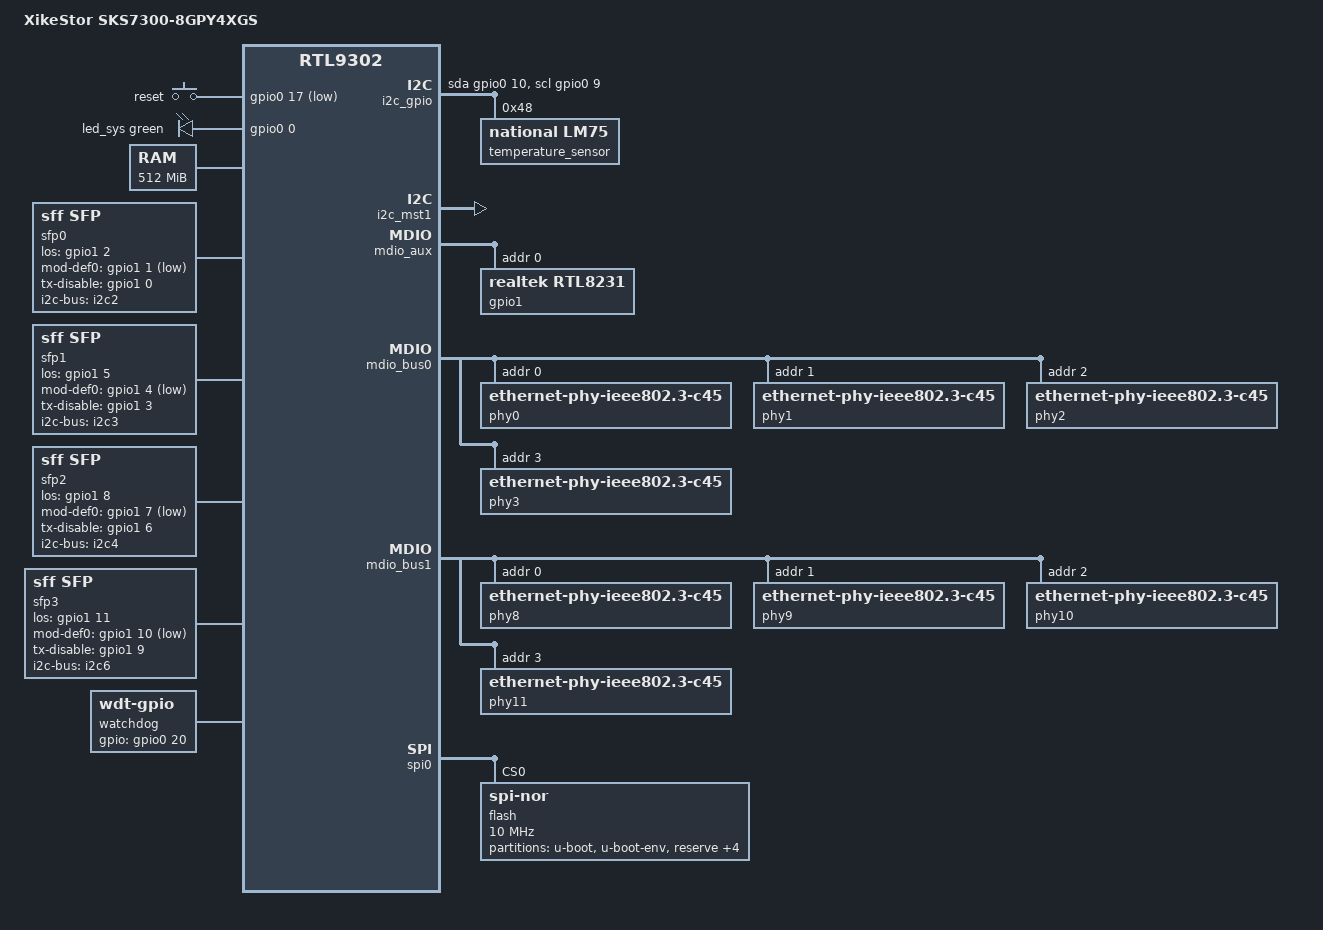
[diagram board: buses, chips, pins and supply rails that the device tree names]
// SPDX-License-Identifier: GPL-2.0-or-later
/dts-v1/;

#include "rtl930x.dtsi"

#include <dt-bindings/gpio/gpio.h>
#include <dt-bindings/input/input.h>
#include <dt-bindings/leds/common.h>

/ {
	compatible = "xikestor,sks7300-8gpy4xgs", "realtek,rtl9302-soc";
	model = "XikeStor SKS7300-8GPY4XGS";

//PSX10	chosen {
//		/* get active mtdparts from u-boot */
//		/delete-property/ bootargs;
//	};

	aliases {
		led-boot = &led_sys;
		led-failsafe = &led_sys;
		led-running = &led_sys;
		led-upgrade = &led_sys;
		label-mac-device = &ethernet0;
	};

	chosen {
		stdout-path = "serial0:115200n8";
		/* Silencing the kernel is required since otherwise the watchdog
		   would time out! */
		bootargs = "quiet";
	};

	i2c_gpio: i2c-gpio {
		compatible = "i2c-gpio";
		#address-cells = <1>;
		#size-cells = <0>;
		i2c-gpio,delay-us = <2>;
//PSX10		i2c-gpio,delay-us = <5>;	/* ~100 kHz */
//PSX10		scl-gpios = <&gpio0 8 GPIO_ACTIVE_HIGH>;
		scl-gpios = <&gpio0 9 (GPIO_ACTIVE_HIGH | GPIO_OPEN_DRAIN)>;
//PSX10		sda-gpios = <&gpio0 9 GPIO_ACTIVE_HIGH>;
		sda-gpios = <&gpio0 10 (GPIO_ACTIVE_HIGH | GPIO_OPEN_DRAIN)>;

		temperature_sensor: temperature-sensor@48 {
			compatible = "national,lm75";
			reg = <0x48>;
			#thermal-sensor-cells = <0>;
		};
	};

//PSX10	i2c1: i2c-gpio1 {
//		compatible = "i2c-gpio";
//		#address-cells = <1>;
//		#size-cells = <0>;
//
//		sda-gpios = <&gpio0 14 GPIO_ACTIVE_HIGH>;
//		scl-gpios = <&gpio0 17 GPIO_ACTIVE_HIGH>;
//
//		i2c-gpio,delay-us = <5>;	/* ~100 kHz */
//	};

	keys {
		compatible = "gpio-keys";

		button-reset {
			label = "reset";
//PSX10			gpios = <&gpio0 1 GPIO_ACTIVE_LOW>;
//SKS8300-12E2T2X	gpios = <&gpio0 6 GPIO_ACTIVE_LOW>;
			gpios = <&gpio0 17 GPIO_ACTIVE_LOW>;
			linux,code = <KEY_RESTART>;
		};
	};

	leds {
		compatible = "gpio-leds";

		pinctrl-names = "default";
		pinctrl-0 = <&pinmux_disable_sys_led>, <&pinmux_enable_led_sync>;

//LEDs: SYS, PWR
		led_sys: led-0 {
			color = <LED_COLOR_ID_GREEN>;
//PSX10			function = LED_FUNCTION_POWER;
			function = LED_FUNCTION_STATUS;
//label deprecated
			gpios = <&gpio0 0 GPIO_ACTIVE_HIGH>;
//PSX10			gpios = <&gpio0 0 GPIO_ACTIVE_LOW>;
//			default-state = "on";
			linux,default-trigger = "heartbeat";
		};

//PSX10		led-1 {
//			color = <LED_COLOR_ID_RED>;
//			function = LED_FUNCTION_STATUS;
//			gpios = <&gpio0 13 GPIO_ACTIVE_LOW>;
//			default-state = "on";
//			linux,default-trigger = "heartbeat";
//		};
	};

	led_set {
		compatible = "realtek,rtl9300-leds";
		active-low;

		/*
		 * 2,5G Ports LED0 (orange): 10M/100M/1G/LINK/ACT
		 * 2,5G Ports LED1 (green): 2.5G/LINK/ACT
		 */
		led_set0 = <(RTL93XX_LED_SET_10M | RTL93XX_LED_SET_100M | RTL93XX_LED_SET_1G |
			     RTL93XX_LED_SET_LINK | RTL93XX_LED_SET_ACT)
			    (RTL93XX_LED_SET_2P5G | RTL93XX_LED_SET_LINK | RTL93XX_LED_SET_ACT)>;

		/*
		 * 10G Ports LED0 (orange): 10M/100M/1G/2.5G/5G/LINK/ACT
		 * 10G Ports LED1 (green): 10G/LINK/ACT
		 */
		led_set1 = <(RTL93XX_LED_SET_10M | RTL93XX_LED_SET_100M | RTL93XX_LED_SET_1G |
			     RTL93XX_LED_SET_2P5G | RTL93XX_LED_SET_5G |
			     RTL93XX_LED_SET_LINK | RTL93XX_LED_SET_ACT)
			    (RTL93XX_LED_SET_10G | RTL93XX_LED_SET_LINK | RTL93XX_LED_SET_ACT)>;
	};

	memory@0 {
		device_type = "memory";
		reg = <0x00000000 0x10000000>, /* first 256 MiB */
		      <0x20000000 0x10000000>; /* remaining 256 MiB */
	};

//PSX10	sfp0: sfp-lan9 {
//		compatible = "sff,sfp";
//		i2c-bus = <&i2c0>;
//		los-gpio = <&gpio0 11 GPIO_ACTIVE_HIGH>;
//		mod-def0-gpio = <&gpio0 12 GPIO_ACTIVE_LOW>;
//		tx-disable-gpio = <&gpio0 22 GPIO_ACTIVE_HIGH>;
//	};
	sfp0: sfp-p1 {
		compatible = "sff,sfp";
		i2c-bus = <&i2c2>;
		los-gpio = <&gpio1 2 GPIO_ACTIVE_HIGH>;
		mod-def0-gpio = <&gpio1 1 GPIO_ACTIVE_LOW>;
		tx-disable-gpio = <&gpio1 0 GPIO_ACTIVE_HIGH>;
		maximum-power-milliwatt = <1500>;
		#thermal-sensor-cells = <0>;
	};

//PSX10	sfp1: sfp-lan10 {
//		compatible = "sff,sfp";
//		i2c-bus = <&i2c1>;
//		los-gpio = <&gpio0 16 GPIO_ACTIVE_HIGH>;
//		mod-def0-gpio = <&gpio0 20 GPIO_ACTIVE_LOW>;
//		tx-disable-gpio = <&gpio0 21 GPIO_ACTIVE_HIGH>;
//	};
	sfp1: sfp-p2 {
		compatible = "sff,sfp";
		i2c-bus = <&i2c3>;
		los-gpio = <&gpio1 5 GPIO_ACTIVE_HIGH>;
		mod-def0-gpio = <&gpio1 4 GPIO_ACTIVE_LOW>;
		tx-disable-gpio = <&gpio1 3 GPIO_ACTIVE_HIGH>;
		maximum-power-milliwatt = <1500>;
		#thermal-sensor-cells = <0>;
	};

	sfp2: sfp-p3 {
		compatible = "sff,sfp";
		i2c-bus = <&i2c4>;
		los-gpio = <&gpio1 8 GPIO_ACTIVE_HIGH>;
		mod-def0-gpio = <&gpio1 7 GPIO_ACTIVE_LOW>;
		tx-disable-gpio = <&gpio1 6 GPIO_ACTIVE_HIGH>;
		maximum-power-milliwatt = <1500>;
		#thermal-sensor-cells = <0>;
	};

	sfp3: sfp-p4 {
		compatible = "sff,sfp";
		i2c-bus = <&i2c6>;
		los-gpio = <&gpio1 11 GPIO_ACTIVE_HIGH>;
		mod-def0-gpio = <&gpio1 10 GPIO_ACTIVE_LOW>;
		tx-disable-gpio = <&gpio1 9 GPIO_ACTIVE_HIGH>;
		maximum-power-milliwatt = <1500>;
		#thermal-sensor-cells = <0>;
	};

	watchdog {
		compatible = "linux,wdt-gpio";
		gpios = <&gpio0 20 GPIO_ACTIVE_HIGH>;
		hw_algo = "toggle";
		hw_margin_ms = <1200>;
		always-running;
	};
};

&ethernet0 {
	nvmem-cells = <&macaddr_ubootenv_ethaddr 0>;
	nvmem-cell-names = "mac-address";
};

&i2c_mst1 {
	status = "okay";
	i2c_sfp0: i2c@0 {
		reg = <0>;
	};
	i2c_sfp1: i2c@1 {
		reg = <1>;
	};
	i2c2: i2c@2 {
		reg = <2>;
	};
	i2c3: i2c@3 {
		reg = <3>;
	};
	i2c4: i2c@4 {
		reg = <4>;
	};
	i2c6: i2c@6 {
		reg = <6>;
	};
};

&mdio_aux {
	status = "okay";

	gpio1: gpio@0 {
		compatible = "realtek,rtl8231";
		reg = <0>;

		gpio-controller;
		#gpio-cells = <2>;
		gpio-ranges = <&gpio1 0 0 37>;

		led-controller {
			compatible = "realtek,rtl8231-leds";
			status = "disabled";
		};
	};
};

&mdio_bus0 {
	/* External RTL8224 PHY */
	phy0: ethernet-phy@0 {
		compatible = "ethernet-phy-ieee802.3-c45";
		reg = <0>;
	};
	phy1: ethernet-phy@1 {
		compatible = "ethernet-phy-ieee802.3-c45";
		reg = <1>;
	};
	phy2: ethernet-phy@2 {
		compatible = "ethernet-phy-ieee802.3-c45";
		reg = <2>;
	};
	phy3: ethernet-phy@3 {
		compatible = "ethernet-phy-ieee802.3-c45";
		reg = <3>;
	};
};

&mdio_bus1 {
	/* External RTL8224 PHY */
	phy8: ethernet-phy@0 {
		compatible = "ethernet-phy-ieee802.3-c45";
		reg = <0>;
	};
	phy9: ethernet-phy@1 {
		compatible = "ethernet-phy-ieee802.3-c45";
		reg = <1>;
	};
	phy10: ethernet-phy@2 {
		compatible = "ethernet-phy-ieee802.3-c45";
		reg = <2>;
	};
	phy11: ethernet-phy@3 {
		compatible = "ethernet-phy-ieee802.3-c45";
		reg = <3>;
	};
};

//mdio_bus2

//mdio_bus3

//PSX10
//&port0 {
//	nvmem-cells = <&macaddr_ubootenv_ethaddr 1>;
//	nvmem-cell-names = "mac-address";
//};

//&port1 {
//	nvmem-cells = <&macaddr_ubootenv_ethaddr 2>;
//	nvmem-cell-names = "mac-address";
//};

//&port2 {
//	nvmem-cells = <&macaddr_ubootenv_ethaddr 3>;
//	nvmem-cell-names = "mac-address";
//};

//&port3 {
//	nvmem-cells = <&macaddr_ubootenv_ethaddr 4>;
//	nvmem-cell-names = "mac-address";
//};

//&port8 {
//	nvmem-cells = <&macaddr_ubootenv_ethaddr 5>;
//	nvmem-cell-names = "mac-address";
//};

//&port9 {
//	nvmem-cells = <&macaddr_ubootenv_ethaddr 6>;
//	nvmem-cell-names = "mac-address";
//};

//&port10 {
//	nvmem-cells = <&macaddr_ubootenv_ethaddr 7>;
//	nvmem-cell-names = "mac-address";
//};

//&port11 {
//	nvmem-cells = <&macaddr_ubootenv_ethaddr 8>;
//	nvmem-cell-names = "mac-address";
//};

&spi0 {
	status = "okay";

	flash@0 {
		compatible = "jedec,spi-nor";
		reg = <0>;
		spi-max-frequency = <10000000>;

		partitions {
			compatible = "fixed-partitions";
			#address-cells = <1>;
			#size-cells = <1>;

			partition@0 {
				label = "u-boot";
				reg = <0x0 0x0a0000>;
				read-only;
			};

			partition@a0000 {
				label = "u-boot-env";
				reg = <0x0a0000 0x10000>;

				nvmem-layout {
					compatible = "u-boot,env";

					macaddr_ubootenv_ethaddr: ethaddr {
						#nvmem-cell-cells = <1>;
					};
				};
			};
//SYSINFO
			partition@b0000 {
				label = "reserve";
				reg = <0xb0000 0x80000>;
				read-only;
			};
//JFFS2_CFG
			partition@130000 {
				label = "config";
				reg = <0x130000 0x350000>;
				read-only;
			};

			partition@480000 {
				label = "firmware";
				reg = <0x480000 0x01b80000>;

				compatible = "fixed-partitions";
				#address-cells = <1>;
				#size-cells = <1>;

				partition@0 {
					label = "kernel";
					reg = <0x0 0x800000>;
				};

				partition@800000 {
					label = "rootfs";
					reg = <0x800000 0x1380000>;
				};
			};
		};
	};
};

&switch0 {
	ethernet-ports {
		#address-cells = <1>;
		#size-cells = <0>;

		port@0 {
			reg = <0>;
			label = "lan2";
			led-set = <0>;
			pcs-handle = <&serdes2>;
			phy-handle = <&phy0>;
			phy-mode = "10g-qxgmii";
		};
		port@1 {
			reg = <1>;
			label = "lan1";
			led-set = <0>;
			pcs-handle = <&serdes2>;
			phy-handle = <&phy1>;
			phy-mode = "10g-qxgmii";
		};
		port@2 {
			reg = <2>;
			label = "lan4";
			led-set = <0>;
			pcs-handle = <&serdes2>;
			phy-handle = <&phy2>;
			phy-mode = "10g-qxgmii";
		};
		port@3 {
			reg = <3>;
			label = "lan3";
			led-set = <0>;
			pcs-handle = <&serdes2>;
			phy-handle = <&phy3>;
			phy-mode = "10g-qxgmii";
		};

		port@8 {
			reg = <8>;
			label = "lan6";
			led-set = <0>;
			pcs-handle = <&serdes3>;
			phy-handle = <&phy8>;
			phy-mode = "10g-qxgmii";
		};
		port@9 {
			reg = <9>;
			label = "lan5";
			led-set = <0>;
			pcs-handle = <&serdes3>;
			phy-handle = <&phy9>;
			phy-mode = "10g-qxgmii";
		};
		port@10 {
			reg = <10>;
			label = "lan8";
			led-set = <0>;
			pcs-handle = <&serdes3>;
			phy-handle = <&phy10>;
			phy-mode = "10g-qxgmii";
		};
		port@11 {
			reg = <11>;
			label = "lan7";
			led-set = <0>;
			pcs-handle = <&serdes3>;
			phy-handle = <&phy11>;
			phy-mode = "10g-qxgmii";
		};

		port@24 {
			reg = <24>;
			label = "lan9";
			pcs-handle = <&serdes6>;
			phy-mode = "1000base-x";
			sfp = <&sfp0>;
			led-set = <1>;
			managed = "in-band-status";

//			nvmem-cells = <&macaddr_ubootenv_ethaddr 9>;
//			nvmem-cell-names = "mac-address";
		};

		port@25 {
			reg = <25>;
			label = "lan10";
			pcs-handle = <&serdes7>;
			phy-mode = "1000base-x";
			sfp = <&sfp1>;
			led-set = <1>;
			managed = "in-band-status";

//			nvmem-cells = <&macaddr_ubootenv_ethaddr 10>;
//			nvmem-cell-names = "mac-address";
		};

		port@26 {
			reg = <26>;
			label = "lan11";
			pcs-handle = <&serdes8>;
			phy-mode = "1000base-x";
			sfp = <&sfp2>;
			led-set = <1>;
			managed = "in-band-status";

//			nvmem-cells = <&macaddr_ubootenv_ethaddr 9>;
//			nvmem-cell-names = "mac-address";
		};

		port@27 {
			reg = <27>;
			label = "lan12";
			pcs-handle = <&serdes9>;
			phy-mode = "1000base-x";
			sfp = <&sfp3>;
			led-set = <1>;
			managed = "in-band-status";

//			nvmem-cells = <&macaddr_ubootenv_ethaddr 10>;
//			nvmem-cell-names = "mac-address";
		};

		/* CPU-port */
		port@28 {
			ethernet = <&ethernet0>;
			reg = <28>;
			phy-mode = "internal";
			fixed-link {
//PSX10				speed = <1000>;
				speed = <10000>;
				full-duplex;
			};
		};
	};
};

&thermal_zones {
	sys-thermal {
		polling-delay-passive = <1000>;
		polling-delay = <1000>;
		thermal-sensors = <&temperature_sensor>;
		trips {
			sys-crit {
				temperature = <70000>;
				hysteresis = <2000>;
				type = "critical";
			};
		};
	};
};
